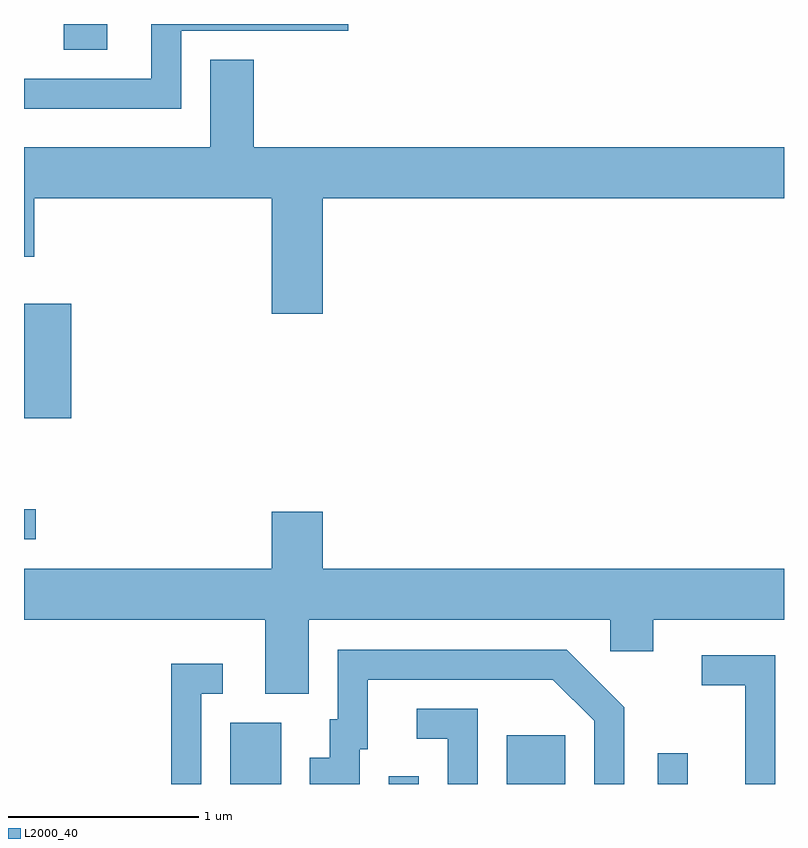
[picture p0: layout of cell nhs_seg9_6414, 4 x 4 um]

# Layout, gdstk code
import gdstk
lib = gdstk.Library(unit=1e-6, precision=1e-09)
def R(c, l, rs):  # rectangles x0, y0, x1, y1
    for r in rs: c.add(gdstk.rectangle(r[:2], r[2:], *l))
def P(c, l, *ps):  # polygons
    for p in ps: c.add(gdstk.Polygon(p, *l))
L2000_40 = (2000, 40)

nhs_seg9_6414 = lib.new_cell('nhs_seg9_6414')
R(nhs_seg9_6414, L2000_40, [(374.696,2066.432,374.964,2066.754), (375.531,2066.432,375.689,2066.472), (376.151,2066.432,376.459,2066.689), (376.946,2066.432,377.104,2066.593), (373.611,2067.721,373.673,2067.879), (373.611,2068.356,373.859,2068.959), (373.821,2070.296,374.049,2070.432)])
P(nhs_seg9_6414, L2000_40, [(374.439,2070.396),(375.318,2070.396),(375.318,2070.432),(374.281,2070.432),(374.281,2070.144),(373.611,2070.144),(373.611,2069.986),(374.439,2069.986)],
  [(375.184,2069.516),(377.611,2069.516),(377.611,2069.784),(374.819,2069.784),(374.819,2070.244),(374.591,2070.244),(374.591,2069.784),(373.611,2069.784),(373.611,2069.206),(373.664,2069.206),(373.664,2069.516),(374.916,2069.516),(374.916,2068.906),(375.184,2068.906)],
  [(375.109,2067.296),(376.696,2067.296),(376.696,2067.131),(376.924,2067.131),(376.924,2067.296),(377.611,2067.296),(377.611,2067.564),(375.184,2067.564),(375.184,2067.864),(374.916,2067.864),(374.916,2067.564),(373.611,2067.564),(373.611,2067.296),(374.881,2067.296),(374.881,2066.906),(375.109,2066.906)],
  [(375.379,2066.616),(375.419,2066.616),(375.419,2066.981),(376.394,2066.981),(376.611,2066.764),(376.611,2066.432),(376.769,2066.432),(376.769,2066.837),(376.467,2067.139),(375.261,2067.139),(375.261,2066.774),(375.221,2066.774),(375.221,2066.569),(375.116,2066.569),(375.116,2066.432),(375.379,2066.432)],
  [(377.564,2067.109),(377.178,2067.109),(377.178,2066.951),(377.406,2066.951),(377.406,2066.432),(377.564,2066.432)],
  [(374.544,2066.906),(374.658,2066.906),(374.658,2067.064),(374.386,2067.064),(374.386,2066.432),(374.544,2066.432)],
  [(375.999,2066.829),(375.678,2066.829),(375.678,2066.671),(375.841,2066.671),(375.841,2066.432),(375.999,2066.432)])

lib.write_gds('nhs_seg9_6414.gds')
